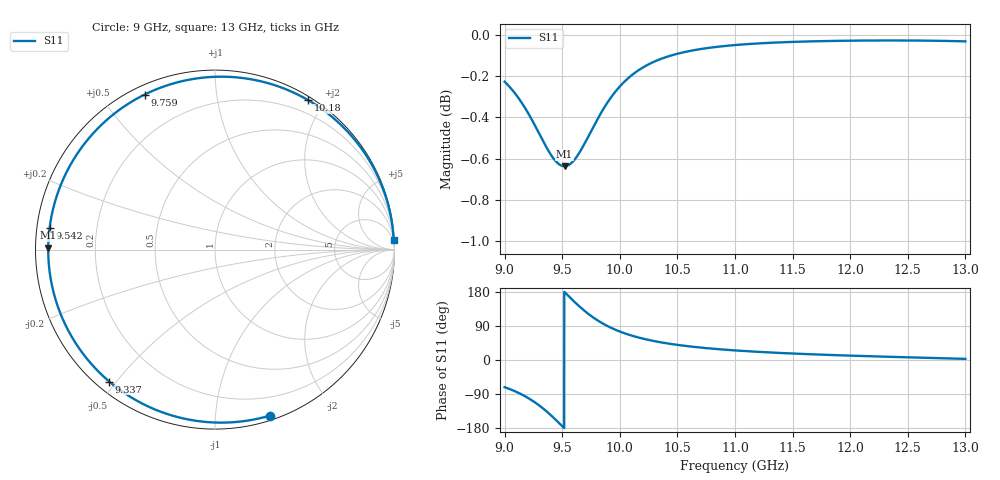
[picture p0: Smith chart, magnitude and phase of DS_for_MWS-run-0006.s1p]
! TOUCHSTONE file generated by CST DESIGN STUDIO
! Date and time: Tue Feb  4 12:53:54 2025
! Project name: C:\Work\MatlabApps\UnitCellOptimizationMatlab\CST\unitcell.cst
! Tree item: Tasks\Sweep1\SPara1\S-Parameters
! Header version: 2024
! Port assignment regex: !\s*Touchstone port\s*([0-9]+)\s*=\s*(CST MWS port|CST DES external port|CST DES block port)\s*(.+)\s* \(\"(.*)\"\)(\s*mode\s*([0-9]+))?.*
! Touchstone port assignment:
! Touchstone port 1 = CST DES external port 1 ("")
# GHz S MA R 50
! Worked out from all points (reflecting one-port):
!   4001 points, 9 GHz to 13 GHz, reference 50 ohm
!   lowest |S11| = -0.6 dB at 9.52 GHz (marker M1), VSWR 27.28, Z = 1.83 + j0.287 ohm
!   phase of S11 starts at -72 deg and turns -285 deg over the sweep
!   S11 on the Smith chart (normalised r, x): 9 GHz: 0.04, -1.38; 9.337 GHz: 0.04, -0.48; 9.542 GHz: 0.04, +0.06; 9.759 GHz: 0.04, +0.64; 10.18 GHz: 0.04, +1.80; 13 GHz: 3, +38
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9  0.9743 -71.7
9.092  0.9678 -82.7
9.197  0.9581 -99.0
9.27  0.9499 -113.3
9.337  0.9421 -128.7
9.381  0.9373 -140.1
9.427  0.9331 -152.9
9.464  0.9307 -163.7
9.5  0.9295 -174.6
9.52  0.9293 179.3
9.542  0.9295 172.6
9.596  0.9319 156.5
9.656  0.937 139.6
9.707  0.9426 126.5
9.759  0.9487 114.4
9.809  0.9544 104.2
9.864  0.9602 94.3
10  0.9717 75.1
10.086  0.9769 66.0
10.179  0.9812 58.0
10.325  0.986 48.4
10.5  0.9896 39.9
10.721  0.9924 32.2
11  0.9945 25.3
11.5  0.9962 17.1
12  0.9969 11.5
12.5  0.997 7.1
13  0.9965 3.0
